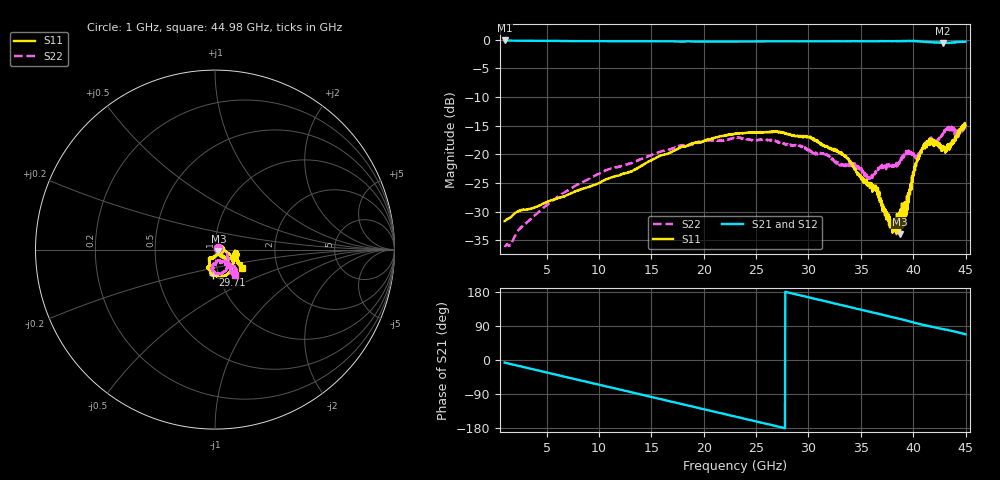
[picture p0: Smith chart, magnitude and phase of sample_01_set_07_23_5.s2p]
!Keysight Technologies,N5247B,MY61255062,A.19.80.06
!Date: Friday, March 13, 2026 17:01:46
!Correction: S11(C  2-Port  )
!S21(C  2-Port  )
!S12(C  2-Port  )
!S22(C  2-Port  )
!S2P File: Measurements: S11, S21, S12, S22:
# Hz S  dB  R 50
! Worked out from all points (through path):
!   1467 points, 1 GHz to 44.98 GHz, reference 50 ohm
!   highest |S21| = -0.15 dB at 1 GHz (marker M1); lowest = -0.6 dB at 42.85 GHz (marker M2)
!   group delay of S21, straight-line fit = 18 ps
!   lowest |S11| = -34.0 dB at 38.74 GHz (marker M3), VSWR 1.04, Z = 51.9 - j0.745 ohm
!   |S11| at or under -10 dB: start of sweep to end of sweep
!   |S22| runs from -36.0 to -14.9 dB; largest |S21 - S12| = 0.0089
!   S11 on the Smith chart (normalised r, x): 1 GHz: 1.05, +0.01; 29.71 GHz: 0.94, -0.27; 44.98 GHz: 1.31, -0.28
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1e9  -31.68 5.6  -0.15 -6.8  -0.15 -6.8  -35.90 25.1
4.6e9  -28.69 3.8  -0.22 -30.2  -0.22 -30.2  -29.49 15.8
8.35e9  -26.04 -4.1  -0.27 -54.5  -0.27 -54.5  -24.92 -7.3
1.213e10  -23.49 -11.8  -0.30 -78.8  -0.29 -78.8  -22.05 -28.8
1.567e10  -20.44 -20.3  -0.29 -101.9  -0.28 -101.8  -19.71 -42.4
1.888e10  -18.14 -35.3  -0.31 -122.6  -0.31 -122.6  -18.26 -57.5
2.299e10  -16.40 -58.0  -0.33 -149.0  -0.33 -148.9  -17.12 -74.5
2.623e10  -16.14 -76.0  -0.32 -170.0  -0.32 -169.9  -17.54 -87.3
2.971e10  -16.99 -95.5  -0.30 167.4  -0.30 167.5  -19.04 -98.3
3.034e10  -17.18 -98.1  -0.29 163.3  -0.28 163.4  -19.55 -99.1
3.37e10  -20.75 -108.8  -0.31 141.4  -0.31 141.6  -21.91 -92.3
3.592e10  -24.99 -114.7  -0.29 126.8  -0.29 127.1  -24.16 -73.8
3.655e10  -25.78 -108.9  -0.28 122.8  -0.30 122.8  -22.64 -66.9
3.766e10  -31.41 -56.1  -0.26 115.4  -0.26 115.5  -21.71 -64.5
3.82e10  -31.44 -25.0  -0.28 111.8  -0.27 111.8  -22.06 -58.9
3.874e10  -33.97 -21.0  -0.25 108.2  -0.24 108.4  -21.11 -51.3
3.916e10  -28.44 -44.0  -0.26 105.4  -0.27 105.6  -20.26 -48.9
4.018e10  -22.80 -34.9  -0.29 98.0  -0.28 98.1  -20.28 -52.0
4.087e10  -19.07 -26.8  -0.36 93.3  -0.35 93.1  -19.05 -43.2
4.162e10  -18.34 -14.4  -0.45 88.9  -0.42 89.0  -17.21 -50.3
4.285e10  -19.02 -2.4  -0.61 81.4  -0.57 81.5  -16.45 -42.2
4.498e10  -14.87 -35.0  -0.37 68.0  -0.35 68.1  -14.95 -51.6
